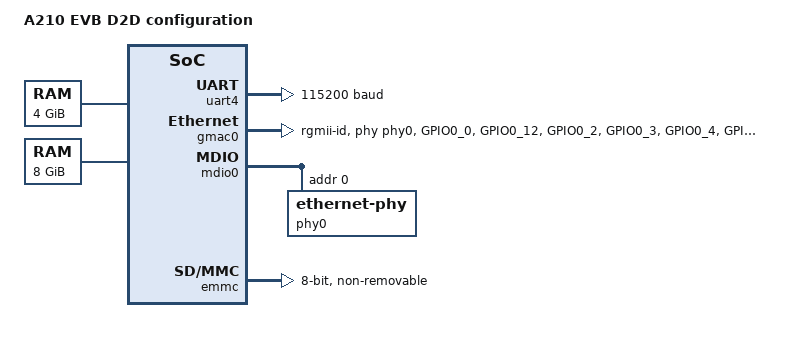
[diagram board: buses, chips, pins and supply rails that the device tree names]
/dts-v1/;

#include "a210-soc-core.dtsi"
#include "a210-soc-core-die1.dtsi"
#include "a210-soc-peri.dtsi"

/ {
	model = "A210 EVB D2D configuration";

	aliases {
		mmc0 = &emmc;
		serial4 = &uart4;
		ethernet0 = &gmac0;
		ethernet1 = &gmac1;
	};

	/* The first 2M will be reserved in the Kernel, and the entire available range is set here */
	memory@0 {
		device_type = "memory";
		reg = <0x00 0x80000000  0x01 0x00000000>; /* 4G - 64MB */
		numa-node-id = <0>;
	};

	memory@2080000000 {
		device_type = "memory";
		reg = <0x20 0x80000000  0x02 0x00000000>; // 8G
		numa-node-id = <1>;
	};

	reserved-memory {
		#address-cells = <2>;
		#size-cells = <2>;
		ranges;

		linux,cma {
			compatible = "shared-dma-pool";
			reusable;
			size = <0x00 0x40000000>;
			alloc-ranges = <0x00 0x90000000 0x00 0x40000000>;
			linux,cma-default;
		};

		memory@1c000000 {
			reg = <0x00 0x1c000000 0x00 0x2000000>;
			no-map;
		};

		framebuffer: framebuffer@10000000 {
			reg = <0x01 0x00 0x00 0x5000000>;
			no-map;
		};

		// zh_videomem@100000000 {
		// 	reg = <0x01 0x00 0x00 0x20000000>;
		// 	no-map;
		// };

		npu_mmu_memory@130000000 {
			reg = <0x01 0x30000000 0x00 0x04000000>;
			no-map;
		};

		memblock-memory@17b800000 {
			reg = <0x01 0x7b800000 0x00 0x04000000>;
			no-map;
		};
	};

	/* The bootargs in U-Boot will override the configuration set here. */
	chosen {
		stdout-path = "serial4";
	};
};

&peri1_padctrl {
	gmac0_pins: gmac0-0 {
		txclk-pins {
			pins = "GPIO0_0", /* GMAC0_TX_CLK */
					"GPIO0_12"; /* GMAC0_MDC */
			function = "gmac0";
			bias-disable;
			drive-strength = <13>;
			input-disable;
			input-schmitt-disable;
			slew-rate = <0>;
		};

		tx-pins {
			pins = "GPIO0_2", /* GMAC0_TXEN */
					"GPIO0_3", /* GMAC0_TXD0 */
					"GPIO0_4", /* GMAC0_TXD1 */
					"GPIO0_5", /* GMAC0_TXD2 */
					"GPIO0_6"; /* GMAC0_TXD3 */
			function = "gmac0";
			bias-disable;
			drive-strength = <20>;
			input-disable;
			input-schmitt-disable;
			slew-rate = <0>;
		};

		rx-pins {
			pins = "GPIO0_1",  /* GMAC0_RX_CLK */
					"GPIO0_7",  /* GMAC0_RXDV */
					"GPIO0_8",  /* GMAC0_RXD0 */
					"GPIO0_9",  /* GMAC0_RXD1 */
					"GPIO0_10", /* GMAC0_RXD2 */
					"GPIO0_11", /* GMAC0_RXD3 */
					"GPIO0_13"; /* GMAC0_MDIO */
			function = "gmac0";
			bias-disable;
			drive-strength = <13>;
			input-enable;
			input-schmitt-disable;
			slew-rate = <0>;
		};
	};
};

&uart0 {
	status = "disabled";
};

&uart1 {
	status = "disabled";
};

&uart3 {
	status = "disabled";
};

&uart4 {
	current-speed = <115200>; /* OpenSBI */
};

&uart5 {
	status = "disabled";
};

&uart6 {
	status = "disabled";
};

&uart7 {
	status = "disabled";
};

&uart8 {
	status = "disabled";
};

&uart9 {
	status = "disabled";
};

&spi0 {
	status = "disabled";
};

&qspi0 {
	status = "disabled";
};

&i2c1 {
	status = "disabled";
};

&i2c2 {
	status = "disabled";
};

&i2c3 {
	status = "disabled";
};

&i2c5 {
	status = "disabled";
};

&i2c6 {
	status = "disabled";
};

&i2c7 {
	status = "disabled";
};

&pwm0 {
	status = "disabled";
};

&pwm2 {
	status = "disabled";
};

&audio_i2s2 {
	status = "disabled";
};

&audio_i2s_8ch_sd1 {
	status = "disabled";
};

&audio_i2s_8ch_sd2 {
	status = "disabled";
};

&audio_i2s_8ch_sd3 {
	status = "disabled";
};

&peri3_padctrl {
	status = "disabled";
};

&gpio4 {
	status = "disabled";
};

&gmac1 {
	status = "disabled";
};

/* FIXME: Disabled non-critical peripherals in the bringup phase */
&can0 {
	status = "disabled";
};

&can1 {
	status = "disabled";
};

&can2 {
	status = "disabled";
};

&dmac1 {
	status = "disabled";
};

&uart2 {
	status = "disabled";
};

&timer0 {
	status = "disabled";
};

&timer1 {
	status = "disabled";
};

&timer3 {
	status = "disabled";
};

&timer4 {
	status = "disabled";
};

&timer5 {
	status = "disabled";
};

&timer6 {
	status = "disabled";
};

&timer7 {
	status = "disabled";
};

&i2c4 {
	status = "disabled";
};

&audio_i2s0 {
	status = "disabled";
};

&dm3x4 {
	status = "disabled";
};

&rp3x1 {
	status = "disabled";
};

&usb31_zhihe {
	status = "disabled";
};

&gmac0 {
	phy-mode = "rgmii-id";
	pinctrl-names = "default";
	pinctrl-0 = <&gmac0_pins>;
	rx-clk-delay = <0x00>; /* for RGMII */
	tx-clk-delay = <0x00>; /* for RGMII */
	phy-handle = <&phy0>;
};

&mdio0 {
	phy0: ethernet-phy@0 {
		reg = <0x0>;
	};
};

&gmac1 {
	status = "disabled";
};

&mdio1 {
	status = "disabled";
};

&audio_i2s0 {
	status = "disabled";
};

&spi0 {
	status = "disabled";
};

&spi1 {
	status = "disabled";
};

&rp3x1 {
	status = "disabled";
};

&audio_i2s2 {
	status = "disabled";
};

&audio_pdm0 {	// Load the module using insmod
	status = "disabled";
};

&pwm1 {
	status = "disabled";
};

&sata {
	status = "disabled";
};

&hdmi_tx {
	status = "disabled";
};

&emmc {
	max-frequency = <196608000>;
	non-removable;
	mmc-ddr-1_8v;
	mmc-hs200-1_8v;
	mmc-hs400-1_8v;
	cap-mmc-highspeed;
	io_fixed_1v8;
	is_emmc;
	no-sdio;
	no-sd;
	pull_up;
	bus-width = <8>;
};

&sdhci0 {
	status = "disabled";
};

&adc {
	status = "disabled";
};

&vp_dfmu_iommu {
    status = "disabled";
};

&vp_dfmu_mt {
    status = "disabled";
};

&npu_dfmu_iommu {
    status = "disabled";
};

&npu_dfmu_mt {
    status = "disabled";
};

&vi_dfmu_iommu {
    status = "disabled";
};

&vi_dfmu_mt {
    status = "disabled";
};

&vo_dfmu_iommu {
    status = "disabled";
};

&vo_dfmu_mt {
    status = "disabled";
};

&peri1_dfmu_iommu {
    status = "okay";
};

&peri1_dfmu_mt {
    status = "disabled";
};

&pcie_dfmu_iommu {
    status = "disabled";
};

&pcie_dfmu_mt {
    status = "disabled";
};

&usb_dfmu_iommu {
    status = "okay";
};

&usb_dfmu_mt {
    status = "disabled";
};

&vidmem {
  status = "disabled";
};

&usb2_0 {
  status = "disabled";
};

&gpio0 {
	status = "disabled";
};
&gpio1 {
	status = "disabled";
};
&gpio2 {
	status = "disabled";
};
&gpio3 {
	status = "disabled";
};
&gpio4 {
	status = "disabled";
};
